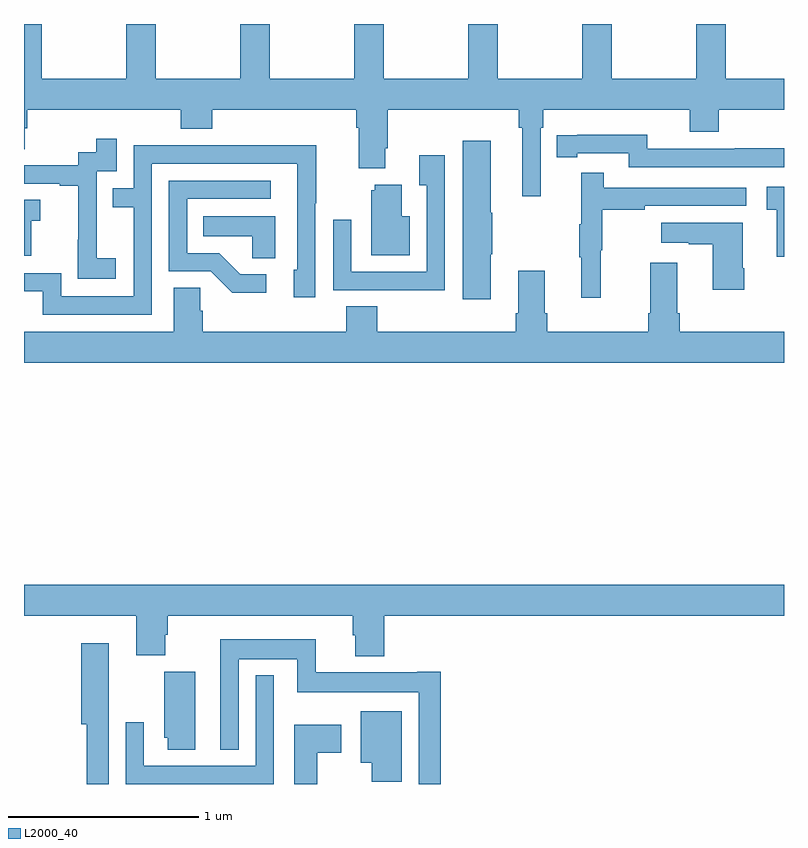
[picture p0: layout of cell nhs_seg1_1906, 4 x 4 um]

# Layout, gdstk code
import gdstk
lib = gdstk.Library(unit=1e-6, precision=1e-09)
def P(c, l, *ps):  # polygons
    for p in ps: c.add(gdstk.Polygon(p, *l))
L2000_40 = (2000, 40)

nhs_seg1_1906 = lib.new_cell('nhs_seg1_1906')
P(nhs_seg1_1906, L2000_40, [(217.719,535.652),(217.733,535.652),(217.733,535.748),(218.504,535.748),(218.504,535.631),(218.657,535.631),(218.657,535.748),(219,535.748),(219,535.912),(218.694,535.912),(218.694,536.199),(218.539,536.199),(218.539,535.912),(218.094,535.912),(218.094,536.199),(217.939,536.199),(217.939,535.912),(217.494,535.912),(217.494,536.199),(217.339,536.199),(217.339,535.912),(216.894,535.912),(216.894,536.199),(216.739,536.199),(216.739,535.912),(216.294,535.912),(216.294,536.199),(216.139,536.199),(216.139,535.912),(215.694,535.912),(215.694,536.199),(215.539,536.199),(215.539,535.912),(215.094,535.912),(215.094,536.199),(215,536.199),(215,535.54),(215.005,535.54),(215.005,535.65),(215.018,535.65),(215.018,535.748),(215.825,535.748),(215.825,535.649),(215.99,535.649),(215.99,535.748),(216.749,535.748),(216.749,535.652),(216.761,535.652),(216.761,535.439),(216.901,535.439),(216.901,535.546),(216.914,535.546),(216.914,535.748),(217.603,535.748),(217.603,535.652),(217.622,535.652),(217.622,535.293),(217.719,535.293)],
  [(219,535.544),(218.74,535.544),(218.74,535.542),(218.28,535.542),(218.28,535.615),(217.912,535.615),(217.912,535.614),(217.804,535.614),(217.804,535.498),(217.912,535.498),(217.912,535.518),(218.184,535.518),(218.184,535.446),(219,535.446)],
  [(215.482,534.967),(215.384,534.967),(215.384,535.196),(215.382,535.196),(215.382,535.425),(215.487,535.425),(215.487,535.594),(215.379,535.594),(215.379,535.524),(215.286,535.524),(215.286,535.455),(215,535.455),(215,535.359),(215.189,535.359),(215.189,535.347),(215.285,535.347),(215.285,535.063),(215.284,535.063),(215.284,534.857),(215.482,534.857)],
  [(217.456,534.988),(217.464,534.988),(217.464,535.205),(217.456,535.205),(217.456,535.585),(217.31,535.585),(217.31,534.75),(217.456,534.75)],
  [(215.673,535.464),(216.438,535.464),(216.438,534.906),(216.419,534.906),(216.419,534.762),(216.534,534.762),(216.534,535.255),(216.537,535.255),(216.537,535.562),(216.073,535.562),(216.073,535.56),(215.577,535.56),(215.577,535.335),(215.467,535.335),(215.467,535.234),(215.577,535.234),(215.577,534.765),(215.196,534.765),(215.196,534.888),(215,534.888),(215,534.792),(215.099,534.792),(215.099,534.669),(215.673,534.669)],
  [(217.215,535.507),(217.079,535.507),(217.079,535.351),(217.119,535.351),(217.119,534.894),(216.723,534.894),(216.723,535.168),(216.627,535.168),(216.627,534.798),(216.943,534.798),(216.943,534.797),(217.215,534.797)],
  [(218.036,535.008),(218.044,535.008),(218.044,535.222),(218.267,535.222),(218.267,535.242),(218.8,535.242),(218.8,535.338),(218.051,535.338),(218.051,535.417),(217.934,535.417),(217.934,535.145),(217.923,535.145),(217.923,534.971),(217.934,534.971),(217.934,534.759),(218.036,534.759)],
  [(216.274,534.882),(216.139,534.882),(216.028,534.993),(215.859,534.993),(215.859,535.278),(216.298,535.278),(216.298,535.374),(215.763,535.374),(215.763,534.897),(215.982,534.897),(216.095,534.785),(216.274,534.785)],
  [(217.03,535.186),(216.988,535.186),(216.988,535.354),(216.845,535.354),(216.845,535.323),(216.827,535.323),(216.827,534.983),(217.03,534.983)],
  [(219,535.342),(218.91,535.342),(218.91,535.221),(218.963,535.221),(218.963,534.975),(219,534.975)],
  [(215.037,535.163),(215.086,535.163),(215.086,535.273),(215,535.273),(215,534.978),(215.037,534.978)],
  [(216.322,535.186),(215.944,535.186),(215.944,535.082),(216.201,535.082),(216.201,534.967),(216.322,534.967)],
  [(218.79,534.913),(218.782,534.913),(218.782,535.153),(218.355,535.153),(218.355,535.049),(218.498,535.049),(218.498,535.039),(218.624,535.039),(218.624,534.801),(218.79,534.801)],
  [(219,534.58),(218.45,534.58),(218.45,534.676),(218.437,534.676),(218.437,534.943),(218.297,534.943),(218.297,534.676),(218.285,534.676),(218.285,534.58),(217.754,534.58),(217.754,534.676),(217.741,534.676),(217.741,534.901),(217.601,534.901),(217.601,534.676),(217.589,534.676),(217.589,534.58),(216.86,534.58),(216.86,534.713),(216.695,534.713),(216.695,534.58),(215.942,534.58),(215.942,534.689),(215.928,534.689),(215.928,534.812),(215.789,534.812),(215.789,534.58),(215,534.58),(215,534.416),(219,534.416)],
  [(216.896,533.084),(219,533.084),(219,533.248),(215,533.248),(215,533.084),(215.591,533.084),(215.591,532.876),(215.743,532.876),(215.743,532.985),(215.756,532.985),(215.756,533.084),(216.731,533.084),(216.731,532.983),(216.743,532.983),(216.743,532.871),(216.896,532.871)],
  [(217.193,532.789),(217.07,532.789),(217.07,532.786),(216.536,532.786),(216.536,532.96),(216.032,532.96),(216.032,532.379),(216.129,532.379),(216.129,532.856),(216.438,532.856),(216.438,532.682),(217.077,532.682),(217.077,532.199),(217.193,532.199)],
  [(215.445,532.618),(215.446,532.618),(215.446,532.939),(215.3,532.939),(215.3,532.514),(215.329,532.514),(215.329,532.199),(215.445,532.199)],
  [(215.902,532.791),(215.738,532.791),(215.738,532.443),(215.756,532.443),(215.756,532.38),(215.902,532.38)],
  [(216.315,532.771),(216.219,532.771),(216.219,532.294),(215.631,532.294),(215.631,532.525),(215.535,532.525),(215.535,532.199),(216.315,532.199)],
  [(216.988,532.582),(216.773,532.582),(216.773,532.31),(216.83,532.31),(216.83,532.211),(216.988,532.211)],
  [(216.544,532.363),(216.67,532.363),(216.67,532.51),(216.422,532.51),(216.422,532.199),(216.544,532.199)])

lib.write_gds('nhs_seg1_1906.gds')
